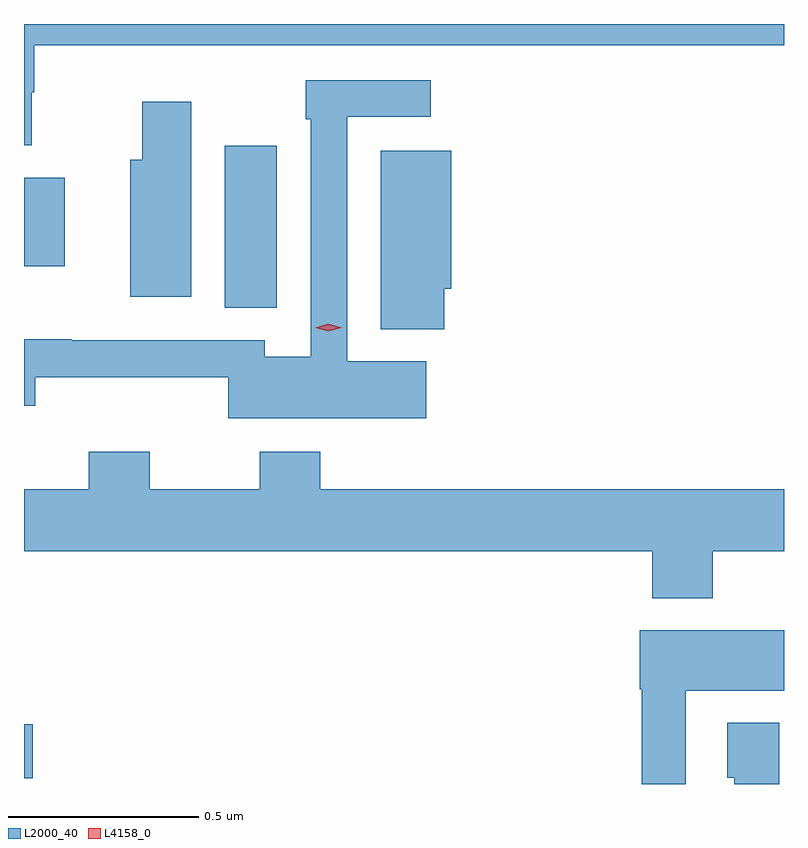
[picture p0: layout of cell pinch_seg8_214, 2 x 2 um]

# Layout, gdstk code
import gdstk
lib = gdstk.Library(unit=1e-6, precision=1e-09)
def R(c, l, rs):  # rectangles x0, y0, x1, y1
    for r in rs: c.add(gdstk.rectangle(r[:2], r[2:], *l))
def P(c, l, *ps):  # polygons
    for p in ps: c.add(gdstk.Polygon(p, *l))
L2000_40 = (2000, 40)
L4158_0 = (4158, 0)

pinch_seg8_214 = lib.new_cell('pinch_seg8_214')
R(pinch_seg8_214, L2000_40, [(734.918,1109.243,734.941,1109.385), (735.446,1110.481,735.583,1110.907), (734.918,1110.59,735.025,1110.823)])
P(pinch_seg8_214, L2000_40, [(734.938,1111.049),(734.945,1111.049),(734.945,1111.172),(736.918,1111.172),(736.918,1111.228),(734.918,1111.228),(734.918,1110.909),(734.938,1110.909)],
  [(735.976,1110.34),(735.768,1110.34),(735.768,1110.984),(735.988,1110.984),(735.988,1111.08),(735.66,1111.08),(735.66,1110.977),(735.672,1110.977),(735.672,1110.352),(735.552,1110.352),(735.552,1110.396),(735.043,1110.396),(735.043,1110.398),(734.918,1110.398),(734.918,1110.224),(734.947,1110.224),(734.947,1110.299),(735.456,1110.299),(735.456,1110.191),(735.976,1110.191)],
  [(735.358,1111.024),(735.229,1111.024),(735.229,1110.871),(735.197,1110.871),(735.197,1110.51),(735.358,1110.51)],
  [(736.024,1110.531),(736.042,1110.531),(736.042,1110.895),(735.857,1110.895),(735.857,1110.425),(736.024,1110.425)],
  [(735.089,1110.103),(735.089,1110.004),(734.918,1110.004),(734.918,1109.84),(736.571,1109.84),(736.571,1109.717),(736.731,1109.717),(736.731,1109.84),(736.918,1109.84),(736.918,1110.004),(735.698,1110.004),(735.698,1110.103),(735.538,1110.103),(735.538,1110.004),(735.249,1110.004),(735.249,1110.103)],
  [(736.659,1109.474),(736.918,1109.474),(736.918,1109.632),(736.538,1109.632),(736.538,1109.478),(736.543,1109.478),(736.543,1109.228),(736.659,1109.228)],
  [(736.906,1109.389),(736.769,1109.389),(736.769,1109.244),(736.787,1109.244),(736.787,1109.228),(736.906,1109.228)])
P(pinch_seg8_214, L4158_0, [(735.719,1110.419),(735.685,1110.429),(735.684,1110.429),(735.685,1110.429),(735.719,1110.439),(735.754,1110.429),(735.754,1110.429),(735.754,1110.429)])

lib.write_gds('pinch_seg8_214.gds')
